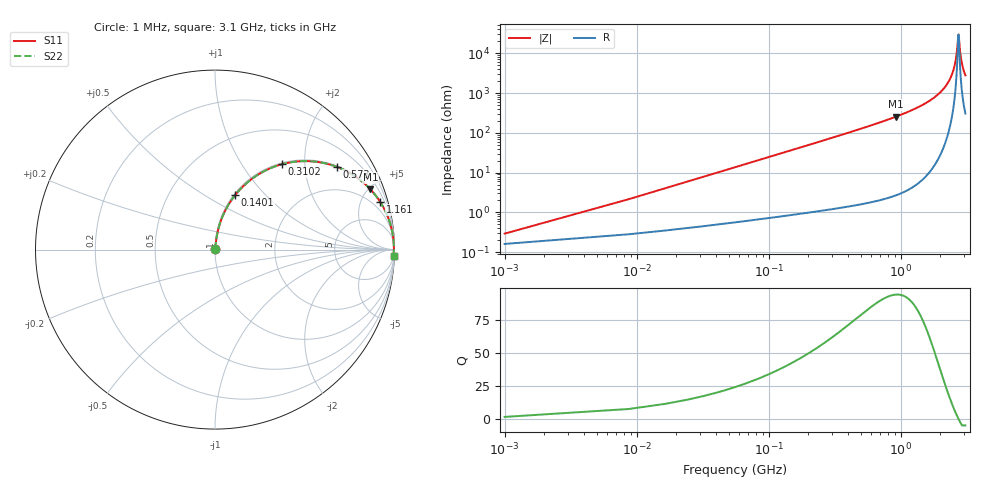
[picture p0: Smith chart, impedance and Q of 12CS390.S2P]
! Coilcraft 1206CS-390 Chip Inductor
! 29 July 2002
# MHZ S MA R 50
!Freq  MagS11  AngS11  MagS21  AngS21  MagS12  AngS12  MagS22  AngS22
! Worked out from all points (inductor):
!   402 points, 1 MHz to 3.1 GHz, reference 50 ohm
!   read as one part in series: L = 39 nH near 16.46 MHz
!   highest Q = 94.7 at 928.6 MHz (marker M1), where L = 44 nH
!   self-resonance near 2.745 GHz
!   S11 on the Smith chart (normalised r, x): 1 MHz: 1.00, +0.00; 140.1 MHz: 1.02, +0.69; 310.2 MHz: 1.02, +1.54; 573 MHz: 1.03, +2.94; 1.161 GHz: 1.08, +6.92; 3.1 GHz: 7, -55
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1  0.002933 56.4  0.9984 -0.1  0.9984 -0.1  0.002933 56.4
24.19  0.05908 82.7  0.9942 -3.4  0.9942 -3.4  0.05908 82.7
39.65  0.09638 81.6  0.9905 -5.5  0.9905 -5.5  0.09638 81.6
78.3  0.1875 77.3  0.9759 -10.8  0.9759 -10.8  0.1875 77.3
140.14  0.3232 69.8  0.9385 -18.9  0.9385 -18.9  0.3232 69.8
310.2  0.6055 51.8  0.7863 -37.3  0.7863 -37.3  0.6055 51.8
518.91  0.7921 36.9  0.6007 -52.4  0.6007 -52.4  0.7921 36.9
573.02  0.8219 34.0  0.5599 -55.3  0.5599 -55.3  0.8219 34.0
928.6  0.9286 21.2  0.3615 -68.2  0.3615 -68.2  0.9286 21.2
1036.82  0.9444 18.6  0.3188 -70.8  0.3188 -70.8  0.9444 18.6
1160.5  0.9579 16.1  0.2768 -73.3  0.2768 -73.3  0.9579 16.1
1554.73  0.982 10.1  0.1753 -79.1  0.1753 -79.1  0.982 10.1
2072.64  0.9938 4.8  0.08443 -83.4  0.08443 -83.4  0.9938 4.8
2389.57  0.9963 2.4  0.04163 -83.7  0.04163 -83.7  0.9963 2.4
2590.55  0.9967 1.0  0.0178 -78.9  0.0178 -78.9  0.9967 1.0
2652.39  0.9967 0.6  0.01102 -72.5  0.01102 -72.5  0.9967 0.6
2729.69  0.9967 0.1  0.003898 -31.4  0.003898 -31.4  0.9967 0.1
2752.88  0.9966 -0.0  0.003391 7.9  0.003391 7.9  0.9966 -0.0
2830.18  0.9965 -0.5  0.009332 67.6  0.009332 67.6  0.9965 -0.5
2892.02  0.9963 -0.9  0.01547 75.8  0.01547 75.8  0.9963 -0.9
2984.78  0.996 -1.4  0.02469 79.9  0.02469 79.9  0.996 -1.4
3100  0.9954 -2.0  0.03586 81.6  0.03586 81.6  0.9954 -2.0
